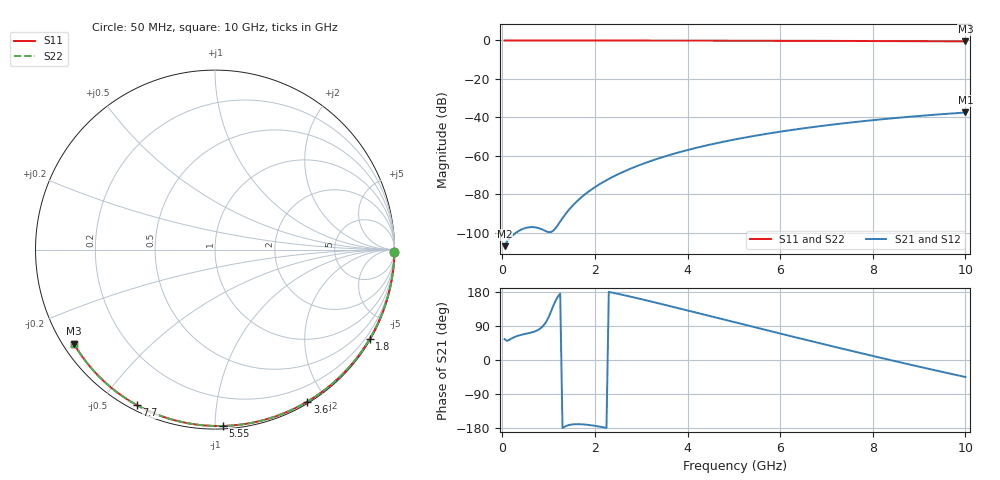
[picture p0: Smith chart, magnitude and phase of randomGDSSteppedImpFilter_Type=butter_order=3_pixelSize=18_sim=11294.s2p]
! freq	dB(S11)	phase(S11)	dB(S12)	phase(S12)
!  dB(S21)	phase(S21)	dB(S22)	phase(S22)
!S-par simulation data
#  GHz  S  DB  R 50
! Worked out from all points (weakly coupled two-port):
!   200 points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, 50 MHz to 10 GHz, reference 50 ohm
!   highest |S21| = -37.43 dB at 10 GHz (marker M1); lowest = -106.9 dB at 50 MHz (marker M2)
!   lowest |S11| = -0.5 dB at 10 GHz (marker M3), VSWR 35.29, Z = 1.55 - j15.1 ohm
!   |S11| at or under -10 dB: nowhere
!   |S22| runs from -0.5 to 0.0 dB; largest |S21 - S12| = 0
!   S11 on the Smith chart (normalised r, x): 50 MHz: open; 1.8 GHz: 0.03, -3.71; 3.6 GHz: 0.02, -1.78; 5.55 GHz: 0.02, -1.05; 7.7 GHz: 0.02, -0.62; 10 GHz: 0.03, -0.30
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0.05  -0.00 -0.9  -106.89 55.1  -106.89 55.1  -0.00 -0.9
0.45  -0.01 -7.7  -97.86 67.6  -97.86 67.6  -0.01 -7.7
0.9  -0.02 -15.2  -98.64 92.4  -98.64 92.4  -0.02 -15.2
1.3  -0.03 -21.9  -92.37 -179.5  -92.37 -179.5  -0.03 -21.9
1.75  -0.04 -29.3  -80.64 -170.0  -80.64 -170.0  -0.04 -29.3
1.8  -0.04 -30.1  -79.67 -170.5  -79.67 -170.5  -0.04 -30.1
1.95  -0.04 -32.6  -77.03 -172.8  -77.03 -172.8  -0.04 -32.6
2.1  -0.04 -35.0  -74.71 -175.7  -74.71 -175.7  -0.04 -35.0
2.3  -0.05 -38.3  -71.95 179.7  -71.95 179.7  -0.05 -38.3
2.5  -0.05 -41.5  -69.52 174.6  -69.52 174.6  -0.05 -41.5
2.9  -0.06 -47.8  -65.35 163.5  -65.35 163.5  -0.06 -47.8
3.4  -0.07 -55.7  -61.09 148.8  -61.09 148.8  -0.07 -55.7
3.6  -0.08 -58.7  -59.61 142.8  -59.61 142.8  -0.08 -58.7
4.3  -0.10 -69.3  -55.15 121.5  -55.15 121.5  -0.10 -69.3
5.05  -0.12 -80.3  -51.31 98.6  -51.31 98.6  -0.12 -80.3
5.55  -0.14 -87.5  -49.14 83.4  -49.14 83.4  -0.14 -87.5
6.1  -0.17 -95.1  -47.04 66.8  -47.04 66.8  -0.17 -95.1
6.7  -0.20 -103.3  -45.02 48.8  -45.02 48.8  -0.20 -103.3
7.7  -0.27 -116.6  -42.17 19.4  -42.17 19.4  -0.27 -116.6
8.35  -0.32 -125.0  -40.60 0.7  -40.60 0.7  -0.32 -125.0
9.2  -0.40 -136.0  -38.84 -23.2  -38.84 -23.2  -0.40 -136.0
10  -0.49 -146.3  -37.43 -44.8  -37.43 -44.8  -0.49 -146.3
